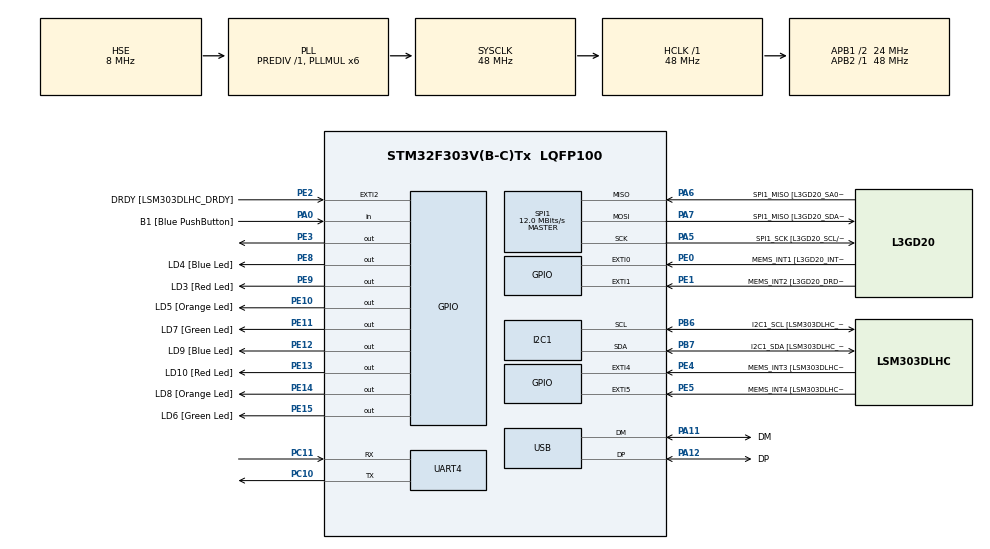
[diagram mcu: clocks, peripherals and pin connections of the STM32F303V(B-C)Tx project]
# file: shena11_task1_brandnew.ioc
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I2C1.Timing=0x00201D2B
I2C1.Timing-I2C=0x2000090E
Mcu.Family=STM32F3
Mcu.Name=STM32F303V(B-C)Tx
Mcu.Package=LQFP100
NVIC.PriorityGroup=NVIC_PRIORITYGROUP_0
NVIC.TIM6_DAC_IRQn=true\:0\:0\:false\:false\:true\:true\:true\:true
PA0.GPIO_Label=B1 [Blue PushButton]
PA0.Signal=GPIO_Input
PA11.GPIO_Label=DM
PA11.Mode=Device
PA11.Signal=USB_DM
PA12.GPIO_Label=DP
PA12.Mode=Device
PA12.Signal=USB_DP
PA13.GPIO_Label=SWDIO
PA13.Mode=Serial_Wire
PA13.Signal=SYS_JTMS-SWDIO
PA14.GPIO_Label=SWCLK
PA14.Mode=Serial_Wire
PA14.Signal=SYS_JTCK-SWCLK
PA5.GPIO_Label=SPI1_SCK [L3GD20_SCL/SPC]
PA5.Mode=Full_Duplex_Master
PA5.Signal=SPI1_SCK
PA6.GPIO_Label=SPI1_MISO [L3GD20_SA0/SDO]
PA6.Mode=Full_Duplex_Master
PA6.Signal=SPI1_MISO
PA7.GPIO_Label=SPI1_MISO [L3GD20_SDA/SDI/SDO]
PA7.Mode=Full_Duplex_Master
PA7.Signal=SPI1_MOSI
PB3.GPIO_Label=SWO
PB3.Signal=SYS_JTDO-TRACESWO
PB6.GPIO_Label=I2C1_SCL [LSM303DLHC_SCL]
PB6.GPIO_Pu=GPIO_PULLUP
PB6.Mode=I2C
PB6.Signal=I2C1_SCL
PB7.GPIO_Label=I2C1_SDA [LSM303DLHC_SDA]
PB7.GPIO_Pu=GPIO_PULLUP
PB7.Mode=I2C
PB7.Signal=I2C1_SDA
PC10.Mode=Asynchronous
PC10.Signal=UART4_TX
PC11.Mode=Asynchronous
PC11.Signal=UART4_RX
PC14-OSC32_IN.GPIO_Label=OSC32_IN
PC14-OSC32_IN.Signal=RCC_OSC32_IN
PC15-OSC32_OUT.GPIO_Label=OSC32_OUT
PC15-OSC32_OUT.Signal=RCC_OSC32_OUT
PE0.GPIO_Label=MEMS_INT1 [L3GD20_INT1]
PE0.GPIO_ModeDefaultEXTI=GPIO_MODE_EVT_RISING
PE0.Signal=GPXTI0
PE1.GPIO_Label=MEMS_INT2 [L3GD20_DRDY/INT2]
PE1.GPIO_ModeDefaultEXTI=GPIO_MODE_EVT_RISING
PE1.Signal=GPXTI1
PE10.GPIO_Label=LD5 [Orange Led]
PE10.Signal=GPIO_Output
PE11.GPIO_Label=LD7 [Green Led]
PE11.Signal=GPIO_Output
PE12.GPIO_Label=LD9 [Blue Led]
PE12.Signal=GPIO_Output
PE13.GPIO_Label=LD10 [Red Led]
PE13.Signal=GPIO_Output
PE14.GPIO_Label=LD8 [Orange Led]
PE14.Signal=GPIO_Output
PE15.GPIO_Label=LD6 [Green Led]
PE15.Signal=GPIO_Output
PE2.GPIO_Label=DRDY [LSM303DLHC_DRDY]
PE2.GPIO_ModeDefaultEXTI=GPIO_MODE_EVT_RISING
PE2.Signal=GPXTI2
PE3.Signal=GPIO_Output
PE4.GPIO_Label=MEMS_INT3 [LSM303DLHC_INT1]
PE4.GPIO_ModeDefaultEXTI=GPIO_MODE_EVT_RISING
PE4.Signal=GPXTI4
PE5.GPIO_Label=MEMS_INT4 [LSM303DLHC_INT2]
PE5.GPIO_ModeDefaultEXTI=GPIO_MODE_EVT_RISING
PE5.Signal=GPXTI5
PE8.GPIO_Label=LD4 [Blue Led]
PE8.Signal=GPIO_Output
PE9.GPIO_Label=LD3 [Red Led]
PE9.Signal=GPIO_Output
PF0-OSC_IN.GPIO_Label=OSC_IN
PF0-OSC_IN.Mode=HSE-External-Clock-Source
PF0-OSC_IN.Signal=RCC_OSC_IN
PF1-OSC_OUT.GPIO_Label=OSC_OUT
PF1-OSC_OUT.Signal=RCC_OSC_OUT
ProjectManager.HeapSize=0x200
ProjectManager.StackSize=0x400
ProjectManager.TargetToolchain=CMake
RCC.AHBFreq_Value=48000000
RCC.APB1CLKDivider=RCC_HCLK_DIV2
RCC.APB1Freq_Value=24000000
RCC.APB1TimFreq_Value=48000000
RCC.APB2Freq_Value=48000000
RCC.APB2TimFreq_Value=48000000
RCC.CortexFreq_Value=48000000
RCC.HCLKFreq_Value=48000000
RCC.HSE_VALUE=8000000
RCC.HSI_VALUE=8000000
RCC.LSE_VALUE=32768
RCC.PLLMUL=RCC_PLL_MUL6
RCC.SYSCLKFreq_VALUE=48000000
RCC.SYSCLKSourceVirtual=RCC_SYSCLKSOURCE_PLLCLK
RCC.USBFreq_Value=48000000
SPI1.BaudRatePrescaler=SPI_BAUDRATEPRESCALER_4
SPI1.BaudRatePrescaler-Full_Duplex_Master=SPI_BAUDRATEPRESCALER_2
SPI1.CalculateBaudRate=12.0 MBits/s
SPI1.CalculateBaudRate-Full_Duplex_Master=24.0 MBits/s
SPI1.Direction=SPI_DIRECTION_2LINES
SPI1.Mode=SPI_MODE_MASTER
SPI1.Mode-Full_Duplex_Master=SPI_MODE_MASTER
SPI1.VirtualType=VM_MASTER
TIM6.Period=99
TIM6.Prescaler=7199
VP_TIM6_VS_ClockSourceINT.Mode=Enable_Timer
board=STM32F3DISCOVERY

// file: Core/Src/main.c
/* USER CODE BEGIN Header */
/**
  ******************************************************************************
  * @file           : main.c
  * @brief          : Main program body
  ******************************************************************************
  * @attention
  *
  * Copyright (c) 2025 STMicroelectronics.
  * All rights reserved.
  *
  * This software is licensed under terms that can be found in the LICENSE file
  * in the root directory of this software component.
  * If no LICENSE file comes with this software, it is provided AS-IS.
  *
  ******************************************************************************
  */
/* USER CODE END Header */
#include "main.h"

/* USER CODE BEGIN Includes */
#include <stdio.h>
#include <math.h>
#include <string.h>

// --- LSM303DLHC (Accelerometer) Defines ---
// I2C Address: 0x19 (7-bit) -> Shifted left by 1 = 0x32
#define ACCEL_ADDR          (0x19 << 1)
#define ACCEL_CTRL_REG1_A   0x20
#define ACCEL_OUT_X_L_A     0x28

// --- L3GD20 (Gyroscope) Defines ---
#define GYRO_CTRL_REG1      0x20
#define GYRO_OUT_X_L        0x28
// Note: Chip Select (CS) is on GPIO E, Pin 3 (PE3)

// --- Filter Constants ---
#define DT                  0.01f  // 10ms sampling time (100Hz)
#define ALPHA               0.98f  // Complementary filter weight (Trust Gyro 98%, Accel 2%)
#define RAD_TO_DEG          57.2957795f

/* USER CODE END Includes */

I2C_HandleTypeDef hi2c1;

SPI_HandleTypeDef hspi1;

TIM_HandleTypeDef htim6;

UART_HandleTypeDef huart4;

PCD_HandleTypeDef hpcd_USB_FS;

/* USER CODE BEGIN PV */

// Raw Sensor Data
int16_t Accel_Y_RAW, Accel_Z_RAW;
int16_t Gyro_X_RAW; // X-axis usually handles the "balancing" rotation on this board

// Processed Data
float Accel_Angle = 0.0f;
float Gyro_Rate_X = 0.0f;
float Current_Angle = 0.0f; // This is your final filtered angle

// UART Buffer
char tx_buffer[64];

/* USER CODE END PV */

void SystemClock_Config(void);
static void MX_GPIO_Init(void);
static void MX_I2C1_Init(void);
static void MX_SPI1_Init(void);
static void MX_TIM6_Init(void);
static void MX_UART4_Init(void);
static void MX_USB_PCD_Init(void);
/* USER CODE BEGIN PFP */
void Init_Sensors(void);
/* USER CODE END PFP */

/* USER CODE BEGIN 0 */

void Init_Sensors(void) {
    uint8_t data;
    uint8_t addr; // <--- NEW VARIABLE

    // --- 1. Initialize Accelerometer (I2C) ---
    // Value: 0x57 (100Hz, Normal Mode, All Axes)
    data = 0x57;
    HAL_I2C_Mem_Write(&hi2c1, ACCEL_ADDR, ACCEL_CTRL_REG1_A, 1, &data, 1, 100);

    // --- 2. Initialize Gyroscope (SPI) ---
    // Value: 0x0F (95Hz ODR, Power On, All Axes)
    data = 0x0F;
    addr = GYRO_CTRL_REG1; // <--- Store the register ID in a variable first

    // SPI Write Sequence: Set CS Low -> Send Reg Addr -> Send Value -> Set CS High
    HAL_GPIO_WritePin(GPIOE, GPIO_PIN_3, GPIO_PIN_RESET);

    // Now pass the address of the variable 'addr', not the define
    HAL_SPI_Transmit(&hspi1, &addr, 1, 10);
    HAL_SPI_Transmit(&hspi1, &data, 1, 10);

    HAL_GPIO_WritePin(GPIOE, GPIO_PIN_3, GPIO_PIN_SET);
}
// --- The Periodic Interrupt Callback (100Hz) ---
void HAL_TIM_PeriodElapsedCallback(TIM_HandleTypeDef *htim) {
    // Ensure this interrupt is triggered by TIM6
    if (htim->Instance == TIM6) {
        uint8_t buffer[6];

        // -------------------------
        // 1. Read Accelerometer (I2C)
        // -------------------------
        // Read 6 bytes starting from 0x28.
        // 0x80 is OR'ed to enable Auto-Increment address
        HAL_I2C_Mem_Read(&hi2c1, ACCEL_ADDR, ACCEL_OUT_X_L_A | 0x80, 1, buffer, 6, 100);

        // Combine High and Low bytes (Y and Z axes are usually Pitch for balancing)
        Accel_Y_RAW = (int16_t)((buffer[3] << 8) | buffer[2]);
        Accel_Z_RAW = (int16_t)((buffer[5] << 8) | buffer[4]);

        // -------------------------
        // 2. Read Gyroscope (SPI)
        // -------------------------
        // Address byte: 0x28 | 0x80 (Read bit) | 0x40 (Auto-Increment bit) = 0xE8
        uint8_t addr = 0x80 | 0x40 | GYRO_OUT_X_L;

        HAL_GPIO_WritePin(GPIOE, GPIO_PIN_3, GPIO_PIN_RESET);
        HAL_SPI_Transmit(&hspi1, &addr, 1, 10);    // Send address
        HAL_SPI_Receive(&hspi1, buffer, 6, 10);    // Receive 6 bytes
        HAL_GPIO_WritePin(GPIOE, GPIO_PIN_3, GPIO_PIN_SET);

        // Gyro X axis usually aligns with the wheels' rotation axis
        Gyro_X_RAW = (int16_t)((buffer[1] << 8) | buffer[0]);

        // -------------------------
        // 3. Sensor Fusion Calculations
        // -------------------------

        // A. Calculate Accelerometer Angle (Pitch) using atan2
        Accel_Angle = atan2f((float)Accel_Y_RAW, (float)Accel_Z_RAW) * RAD_TO_DEG;

        // B. Calculate Gyro Rate (Degrees Per Second)
        // Sensitivity for 250dps range is ~0.00875 dps/LSB
        Gyro_Rate_X = (float)Gyro_X_RAW * 0.00875f;

        // C. Complementary Filter
        // Filtered Angle = 98% (Gyro Integration) + 2% (Accelerometer Correction)
        Current_Angle = ALPHA * (Current_Angle + Gyro_Rate_X * DT) + (1.0f - ALPHA) * Accel_Angle;

        // -------------------------
        // 4. Send Data to Terminal
        // -------------------------
        // Format: "RawAccel, RawGyro, FilteredAngle"
        int len = sprintf(tx_buffer, "Ang:%.2f\r\n", Current_Angle);
        HAL_UART_Transmit(&huart4, (uint8_t*)tx_buffer, len, 10);
    }
}

/* USER CODE END 0 */

int main(void)
{

  /* MCU Configuration--------------------------------------------------------*/

  /* Reset of all peripherals, Initializes the Flash interface and the Systick. */
  HAL_Init();

  /* Configure the system clock */
  SystemClock_Config();

  /* Initialize all configured peripherals */
  MX_GPIO_Init();
  MX_I2C1_Init();
  MX_SPI1_Init();
  MX_TIM6_Init();
  MX_UART4_Init();
  MX_USB_PCD_Init();
  /* USER CODE BEGIN 2 */

  // 1. Configure the Sensors
  Init_Sensors();

  // 2. Start the Timer Interrupt (This starts the loop defined above)
  HAL_TIM_Base_Start_IT(&htim6);

  /* USER CODE END 2 */

  /* Infinite loop */
  while (1)
  {

  }
}

void SystemClock_Config(void)
{
  RCC_OscInitTypeDef RCC_OscInitStruct = {0};
  RCC_ClkInitTypeDef RCC_ClkInitStruct = {0};
  RCC_PeriphCLKInitTypeDef PeriphClkInit = {0};

  /** Initializes the RCC Oscillators according to the specified parameters
  * in the RCC_OscInitTypeDef structure.
  */
  RCC_OscInitStruct.OscillatorType = RCC_OSCILLATORTYPE_HSI|RCC_OSCILLATORTYPE_HSE;
  RCC_OscInitStruct.HSEState = RCC_HSE_BYPASS;
  RCC_OscInitStruct.HSEPredivValue = RCC_HSE_PREDIV_DIV1;
  RCC_OscInitStruct.HSIState = RCC_HSI_ON;
  RCC_OscInitStruct.HSICalibrationValue = RCC_HSICALIBRATION_DEFAULT;
  RCC_OscInitStruct.PLL.PLLState = RCC_PLL_ON;
  RCC_OscInitStruct.PLL.PLLSource = RCC_PLLSOURCE_HSE;
  RCC_OscInitStruct.PLL.PLLMUL = RCC_PLL_MUL6;
  if (HAL_RCC_OscConfig(&RCC_OscInitStruct) != HAL_OK)
  {
    Error_Handler();
  }

  /** Initializes the CPU, AHB and APB buses clocks
  */
  RCC_ClkInitStruct.ClockType = RCC_CLOCKTYPE_HCLK|RCC_CLOCKTYPE_SYSCLK
                              |RCC_CLOCKTYPE_PCLK1|RCC_CLOCKTYPE_PCLK2;
  RCC_ClkInitStruct.SYSCLKSource = RCC_SYSCLKSOURCE_PLLCLK;
  RCC_ClkInitStruct.AHBCLKDivider = RCC_SYSCLK_DIV1;
  RCC_ClkInitStruct.APB1CLKDivider = RCC_HCLK_DIV2;
  RCC_ClkInitStruct.APB2CLKDivider = RCC_HCLK_DIV1;

  if (HAL_RCC_ClockConfig(&RCC_ClkInitStruct, FLASH_LATENCY_1) != HAL_OK)
  {
    Error_Handler();
  }
  PeriphClkInit.PeriphClockSelection = RCC_PERIPHCLK_USB|RCC_PERIPHCLK_UART4
                              |RCC_PERIPHCLK_I2C1;
  PeriphClkInit.Uart4ClockSelection = RCC_UART4CLKSOURCE_PCLK1;
  PeriphClkInit.I2c1ClockSelection = RCC_I2C1CLKSOURCE_HSI;
  PeriphClkInit.USBClockSelection = RCC_USBCLKSOURCE_PLL;
  if (HAL_RCCEx_PeriphCLKConfig(&PeriphClkInit) != HAL_OK)
  {
    Error_Handler();
  }
}

static void MX_I2C1_Init(void)
{

  hi2c1.Instance = I2C1;
  hi2c1.Init.Timing = 0x00201D2B;
  hi2c1.Init.OwnAddress1 = 0;
  hi2c1.Init.AddressingMode = I2C_ADDRESSINGMODE_7BIT;
  hi2c1.Init.DualAddressMode = I2C_DUALADDRESS_DISABLE;
  hi2c1.Init.OwnAddress2 = 0;
  hi2c1.Init.OwnAddress2Masks = I2C_OA2_NOMASK;
  hi2c1.Init.GeneralCallMode = I2C_GENERALCALL_DISABLE;
  hi2c1.Init.NoStretchMode = I2C_NOSTRETCH_DISABLE;
  if (HAL_I2C_Init(&hi2c1) != HAL_OK)
  {
    Error_Handler();
  }

  /** Configure Analogue filter
  */
  if (HAL_I2CEx_ConfigAnalogFilter(&hi2c1, I2C_ANALOGFILTER_ENABLE) != HAL_OK)
  {
    Error_Handler();
  }

  /** Configure Digital filter
  */
  if (HAL_I2CEx_ConfigDigitalFilter(&hi2c1, 0) != HAL_OK)
  {
    Error_Handler();
  }

}

static void MX_SPI1_Init(void)
{

  /* SPI1 parameter configuration*/
  hspi1.Instance = SPI1;
  hspi1.Init.Mode = SPI_MODE_MASTER;
  hspi1.Init.Direction = SPI_DIRECTION_2LINES;
  hspi1.Init.DataSize = SPI_DATASIZE_4BIT;
  hspi1.Init.CLKPolarity = SPI_POLARITY_LOW;
  hspi1.Init.CLKPhase = SPI_PHASE_1EDGE;
  hspi1.Init.NSS = SPI_NSS_SOFT;
  hspi1.Init.BaudRatePrescaler = SPI_BAUDRATEPRESCALER_4;
  hspi1.Init.FirstBit = SPI_FIRSTBIT_MSB;
  hspi1.Init.TIMode = SPI_TIMODE_DISABLE;
  hspi1.Init.CRCCalculation = SPI_CRCCALCULATION_DISABLE;
  hspi1.Init.CRCPolynomial = 7;
  hspi1.Init.CRCLength = SPI_CRC_LENGTH_DATASIZE;
  hspi1.Init.NSSPMode = SPI_NSS_PULSE_ENABLE;
  if (HAL_SPI_Init(&hspi1) != HAL_OK)
  {
    Error_Handler();
  }

}

static void MX_TIM6_Init(void)
{

  TIM_MasterConfigTypeDef sMasterConfig = {0};

  htim6.Instance = TIM6;
  htim6.Init.Prescaler = 7199;
  htim6.Init.CounterMode = TIM_COUNTERMODE_UP;
  htim6.Init.Period = 99;
  htim6.Init.AutoReloadPreload = TIM_AUTORELOAD_PRELOAD_DISABLE;
  if (HAL_TIM_Base_Init(&htim6) != HAL_OK)
  {
    Error_Handler();
  }
  sMasterConfig.MasterOutputTrigger = TIM_TRGO_RESET;
  sMasterConfig.MasterSlaveMode = TIM_MASTERSLAVEMODE_DISABLE;
  if (HAL_TIMEx_MasterConfigSynchronization(&htim6, &sMasterConfig) != HAL_OK)
  {
    Error_Handler();
  }

}

static void MX_UART4_Init(void)
{

  huart4.Instance = UART4;
  huart4.Init.BaudRate = 115200;
  huart4.Init.WordLength = UART_WORDLENGTH_8B;
  huart4.Init.StopBits = UART_STOPBITS_1;
  huart4.Init.Parity = UART_PARITY_NONE;
  huart4.Init.Mode = UART_MODE_TX_RX;
  huart4.Init.HwFlowCtl = UART_HWCONTROL_NONE;
  huart4.Init.OverSampling = UART_OVERSAMPLING_16;
  huart4.Init.OneBitSampling = UART_ONE_BIT_SAMPLE_DISABLE;
  huart4.AdvancedInit.AdvFeatureInit = UART_ADVFEATURE_NO_INIT;
  if (HAL_UART_Init(&huart4) != HAL_OK)
  {
    Error_Handler();
  }

}

static void MX_USB_PCD_Init(void)
{

  hpcd_USB_FS.Instance = USB;
  hpcd_USB_FS.Init.dev_endpoints = 8;
  hpcd_USB_FS.Init.speed = PCD_SPEED_FULL;
  hpcd_USB_FS.Init.phy_itface = PCD_PHY_EMBEDDED;
  hpcd_USB_FS.Init.low_power_enable = DISABLE;
  hpcd_USB_FS.Init.battery_charging_enable = DISABLE;
  if (HAL_PCD_Init(&hpcd_USB_FS) != HAL_OK)
  {
    Error_Handler();
  }

}

static void MX_GPIO_Init(void)
{
  GPIO_InitTypeDef GPIO_InitStruct = {0};

  /* GPIO Ports Clock Enable */
  __HAL_RCC_GPIOE_CLK_ENABLE();
  __HAL_RCC_GPIOC_CLK_ENABLE();
  __HAL_RCC_GPIOF_CLK_ENABLE();
  __HAL_RCC_GPIOA_CLK_ENABLE();
  __HAL_RCC_GPIOB_CLK_ENABLE();

  /*Configure GPIO pin Output Level */
  HAL_GPIO_WritePin(GPIOE, GPIO_PIN_3|LD4_Pin|LD3_Pin|LD5_Pin
                          |LD7_Pin|LD9_Pin|LD10_Pin|LD8_Pin
                          |LD6_Pin, GPIO_PIN_RESET);

  /*Configure GPIO pins : DRDY_Pin MEMS_INT3_Pin MEMS_INT4_Pin MEMS_INT1_Pin
                           MEMS_INT2_Pin */
  GPIO_InitStruct.Pin = DRDY_Pin|MEMS_INT3_Pin|MEMS_INT4_Pin|MEMS_INT1_Pin
                          |MEMS_INT2_Pin;
  GPIO_InitStruct.Mode = GPIO_MODE_EVT_RISING;
  GPIO_InitStruct.Pull = GPIO_NOPULL;
  HAL_GPIO_Init(GPIOE, &GPIO_InitStruct);

  /*Configure GPIO pins : PE3 LD4_Pin LD3_Pin LD5_Pin
                           LD7_Pin LD9_Pin LD10_Pin LD8_Pin
                           LD6_Pin */
  GPIO_InitStruct.Pin = GPIO_PIN_3|LD4_Pin|LD3_Pin|LD5_Pin
                          |LD7_Pin|LD9_Pin|LD10_Pin|LD8_Pin
                          |LD6_Pin;
  GPIO_InitStruct.Mode = GPIO_MODE_OUTPUT_PP;
  GPIO_InitStruct.Pull = GPIO_NOPULL;
  GPIO_InitStruct.Speed = GPIO_SPEED_FREQ_LOW;
  HAL_GPIO_Init(GPIOE, &GPIO_InitStruct);

  /*Configure GPIO pin : B1_Pin */
  GPIO_InitStruct.Pin = B1_Pin;
  GPIO_InitStruct.Mode = GPIO_MODE_INPUT;
  GPIO_InitStruct.Pull = GPIO_NOPULL;
  HAL_GPIO_Init(B1_GPIO_Port, &GPIO_InitStruct);

}

void Error_Handler(void)
{
  __disable_irq();
  while (1)
  {
  }
}
